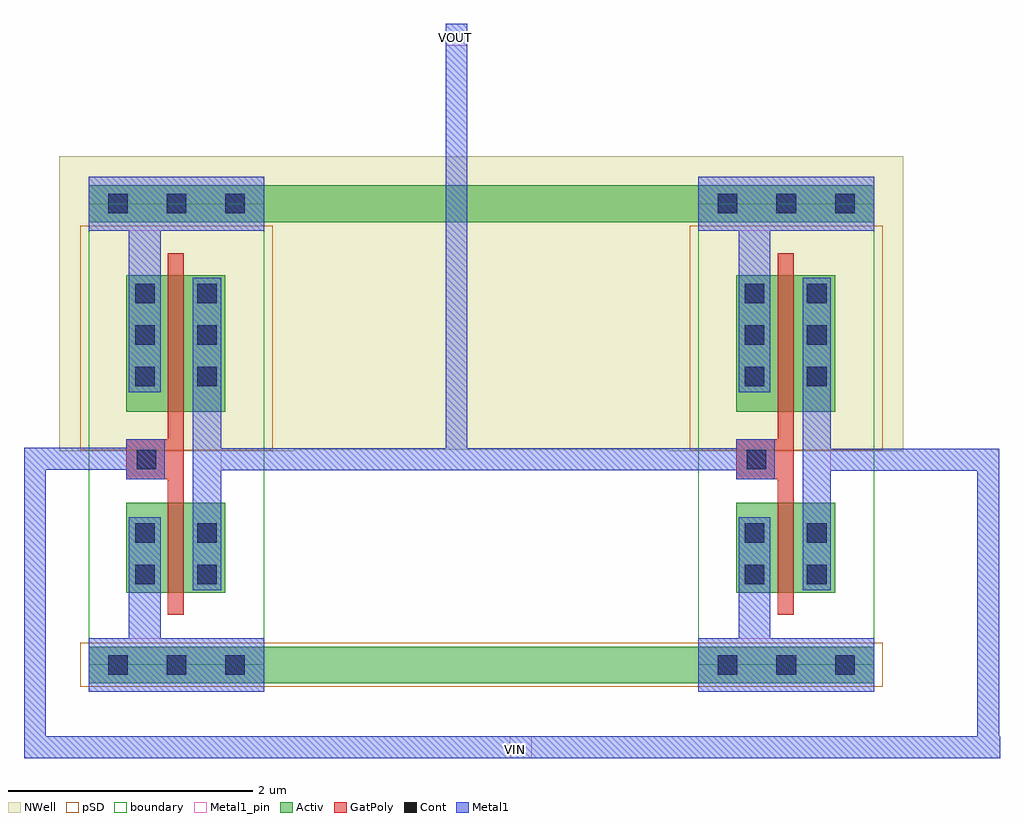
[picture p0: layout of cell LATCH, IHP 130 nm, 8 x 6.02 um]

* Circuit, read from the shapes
.subckt LATCH VDD VIN VOUT VSS
XM1 VOUT VIN VSS VSS sg13_lv_nmos w=0.74u l=0.13u
XM2 VIN VOUT VSS VSS sg13_lv_nmos w=0.74u l=0.13u
XM3 VOUT VIN VDD VDD sg13_lv_pmos w=1.12u l=0.13u
XM4 VIN VOUT VDD VDD sg13_lv_pmos w=1.12u l=0.13u
.ends

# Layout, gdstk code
import gdstk
lib = gdstk.Library(unit=1e-6, precision=1e-09)
def R(c, l, rs):  # rectangles x0, y0, x1, y1
    for r in rs: c.add(gdstk.rectangle(r[:2], r[2:], *l))
def A(c, l, x, y, w, h, nx, ny, dx, dy):  # array of equal rectangles
    R(c, l, [(x+i*dx, y+j*dy, x+i*dx+w, y+j*dy+h) for i in range(nx) for j in range(ny)])
def P(c, l, *ps):  # polygons
    for p in ps: c.add(gdstk.Polygon(p, *l))
Activ = (1, 0)
GatPoly = (5, 0)
Cont = (6, 0)
Metal1 = (8, 0)
Metal1_pin = (8, 2)
pSD = (14, 0)
NWell = (31, 0)
boundary = (189, 4)

sg13g2_inv_1 = lib.new_cell('sg13g2_inv_1')
R(sg13g2_inv_1, Activ, [(2.93,-0.185,4.37,0.115), (3.24,0.555,4.05,1.295), (3.24,2.04,4.05,3.16), (2.93,3.595,4.37,3.895)])
P(sg13g2_inv_1, GatPoly, [(3.58,0.375),(3.58,1.485),(3.24,1.485),(3.24,1.815),(3.58,1.815),(3.58,3.34),(3.71,3.34),(3.71,0.375)])
A(sg13g2_inv_1, Cont, 3.31, 2.25, 0.16, 0.16, 1, 3, 0, 0.34)
A(sg13g2_inv_1, Cont, 3.82, 2.25, 0.16, 0.16, 1, 3, 0, 0.34)
R(sg13g2_inv_1, Cont, [(3.09,-0.115,3.25,0.045), (3.09,-0.115,3.25,0.045), (3.57,-0.115,3.73,0.045), (3.57,-0.115,3.73,0.045), (4.05,-0.115,4.21,0.045), (4.05,-0.115,4.21,0.045), (3.31,0.625,3.47,0.785), (3.82,0.625,3.98,0.785), (3.31,0.965,3.47,1.125), (3.82,0.965,3.98,1.125), (3.325,1.57,3.485,1.73), (3.09,3.665,3.25,3.825), (3.09,3.665,3.25,3.825), (3.57,3.665,3.73,3.825), (3.57,3.665,3.73,3.825), (4.05,3.665,4.21,3.825), (4.05,3.665,4.21,3.825)])
R(sg13g2_inv_1, Metal1, [(3.785,0.575,4.015,3.14), (3.24,1.485,3.555,1.815)])
P(sg13g2_inv_1, Metal1, [(3.26,2.2),(3.26,3.525),(2.93,3.525),(2.93,3.965),(4.37,3.965),(4.37,3.525),(3.52,3.525),(3.52,2.2)],
  [(2.93,-0.255),(2.93,0.185),(3.26,0.185),(3.26,1.175),(3.52,1.175),(3.52,0.185),(4.37,0.185),(4.37,-0.255)])
R(sg13g2_inv_1, Metal1_pin, [(2.93,-0.255,4.37,0.185), (3.785,0.575,4.015,3.14), (3.24,1.485,3.555,1.815), (2.93,3.525,4.37,3.965)])
R(sg13g2_inv_1, pSD, [(2.86,-0.215,4.44,0.145), (2.86,1.725,4.44,3.565)])
R(sg13g2_inv_1, NWell, [(2.69,1.715,4.61,4.135)])
R(sg13g2_inv_1, boundary, [(2.93,-0.035,4.37,3.745)])
sg13g2_inv_1.add(gdstk.Label('Y', (3.91,1.65), layer=8, texttype=25))
sg13g2_inv_1.add(gdstk.Label('A', (3.41,1.64), layer=8, texttype=25))
sg13g2_inv_1.add(gdstk.Label('VSS', (3.65,-0.06), layer=8, texttype=25))
sg13g2_inv_1.add(gdstk.Label('VDD', (3.635,3.74), layer=8, texttype=25))

latch = lib.new_cell('LATCH')
R(latch, Activ, [(4.37,-0.185,7.928,0.115), (4.37,3.595,7.928,3.895)])
R(latch, Metal1, [(2.4,-0.8,2.58,1.745), (2.58,-0.8,10.4,-0.62), (10.215,-0.62,10.395,1.555), (9.013,1.555,10.395,1.735), (4.015,1.56,8.238,1.74), (2.58,1.565,3.24,1.745), (5.855,1.74,6.035,5.22)])
R(latch, Metal1_pin, [(6.38,-0.8,6.56,-0.62), (5.855,5.04,6.035,5.22)])
R(latch, pSD, [(4.44,-0.215,7.858,0.145)])
R(latch, NWell, [(4.61,1.73,7.688,4.135)])
latch.add(gdstk.Reference(sg13g2_inv_1, (0,0)))
latch.add(gdstk.Reference(sg13g2_inv_1, (4.998,0)))
latch.add(gdstk.Label('VOUT', (5.94,5.11), layer=8, texttype=2))
latch.add(gdstk.Label('VIN', (6.43,-0.73), layer=8, texttype=2))

lib.write_gds('LATCH.gds')
